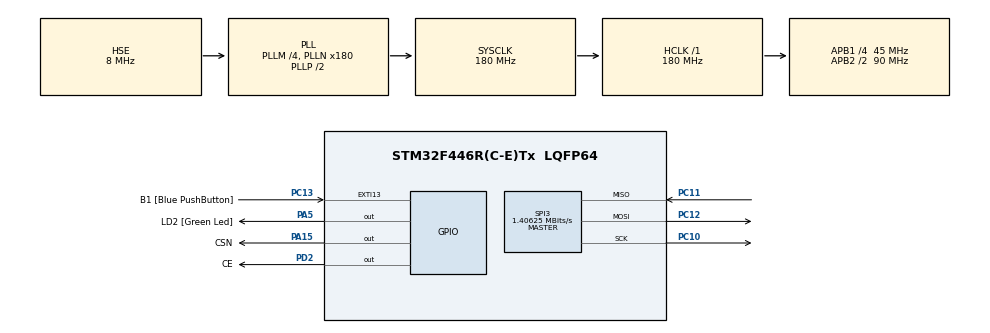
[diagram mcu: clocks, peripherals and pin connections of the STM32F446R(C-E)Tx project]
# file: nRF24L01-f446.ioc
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Mcu.Family=STM32F4
Mcu.Name=STM32F446R(C-E)Tx
Mcu.Package=LQFP64
NVIC.PriorityGroup=NVIC_PRIORITYGROUP_0
PA13.GPIO_Label=TMS
PA13.Mode=Serial_Wire
PA13.Signal=SYS_JTMS-SWDIO
PA14.GPIO_Label=TCK
PA14.Mode=Serial_Wire
PA14.Signal=SYS_JTCK-SWCLK
PA15.GPIO_Label=CSN
PA15.Signal=GPIO_Output
PA3.GPIO_Label=USART_RX
PA3.Signal=USART2_RX
PA5.GPIO_Label=LD2 [Green Led]
PA5.Signal=GPIO_Output
PB3.GPIO_Label=SWO
PB3.Signal=SYS_JTDO-SWO
PC10.Mode=Full_Duplex_Master
PC10.Signal=SPI3_SCK
PC11.Mode=Full_Duplex_Master
PC11.Signal=SPI3_MISO
PC12.Mode=Full_Duplex_Master
PC12.Signal=SPI3_MOSI
PC13.GPIO_Label=B1 [Blue PushButton]
PC13.GPIO_ModeDefaultEXTI=GPIO_MODE_IT_FALLING
PC13.Signal=GPXTI13
PC15-OSC32_OUT.Signal=RCC_OSC32_OUT
PD2.GPIO_Label=CE
PD2.Signal=GPIO_Output
PH0-OSC_IN.Mode=HSE-External-Clock-Source
PH0-OSC_IN.Signal=RCC_OSC_IN
PH1-OSC_OUT.Mode=HSE-External-Clock-Source
PH1-OSC_OUT.Signal=RCC_OSC_OUT
ProjectManager.HeapSize=0x200
ProjectManager.StackSize=0x400
ProjectManager.TargetToolchain=SW4STM32
RCC.48MHZClocksFreq_Value=84000000
RCC.AHBFreq_Value=180000000
RCC.APB1CLKDivider=RCC_HCLK_DIV4
RCC.APB1Freq_Value=45000000
RCC.APB1TimFreq_Value=90000000
RCC.APB2CLKDivider=RCC_HCLK_DIV2
RCC.APB2Freq_Value=90000000
RCC.APB2TimFreq_Value=180000000
RCC.CortexFreq_Value=180000000
RCC.FLatency-AdvancedSettings=FLASH_LATENCY_5
RCC.HCLKFreq_Value=180000000
RCC.HSE_VALUE=8000000
RCC.HSI_VALUE=16000000
RCC.PLLM=4
RCC.PLLN=180
RCC.PLLSourceVirtual=RCC_PLLSOURCE_HSE
RCC.SYSCLKFreq_VALUE=180000000
RCC.SYSCLKSource=RCC_SYSCLKSOURCE_PLLCLK
RCC.USBFreq_Value=180000000
RCC.VCOOutputFreq_Value=360000000
SPI3.BaudRatePrescaler=SPI_BAUDRATEPRESCALER_32
SPI3.CalculateBaudRate=1.40625 MBits/s
SPI3.Direction=SPI_DIRECTION_2LINES
SPI3.Mode=SPI_MODE_MASTER
SPI3.VirtualType=VM_MASTER
board=NUCLEO-F446RE

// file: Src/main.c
/* USER CODE BEGIN Header */
/**
  ******************************************************************************
  * @file           : main.c
  * @brief          : Main program body
  ******************************************************************************
  * @attention
  *
  * <h2><center>&copy; Copyright (c) 2019 STMicroelectronics.
  * All rights reserved.</center></h2>
  *
  * This software component is licensed by ST under BSD 3-Clause license,
  * the "License"; You may not use this file except in compliance with the
  * License. You may obtain a copy of the License at:
  *                        opensource.org/licenses/BSD-3-Clause
  *
  ******************************************************************************
  */
/* USER CODE END Header */

#include "main.h"
#include "spi.h"
#include "gpio.h"

/* USER CODE BEGIN Includes */

	#include <string.h>
	#include <stdio.h>
	#include "lcd.h"
	#include "NRF24L01_sm.h"

/* USER CODE END Includes */

void SystemClock_Config(void);

/* USER CODE BEGIN 0 */

	#define MASTER
	#define MY_CHANNEL 106
	uint8_t MyAddress[] = { 0x65, 0x65, 0x65, 0x65, 0x65 };		/* My address */
	uint8_t TxAddress[] = { 0x56, 0x56, 0x56, 0x56, 0x56 };		/* Other end address */
	uint8_t dataOut[32], dataIn[32];							/* Data received and data for send */
	NRF24L01_Transmit_Status_t transmissionStatus;				/* NRF transmission status */

/* USER CODE END 0 */

int main(void)
{

  /* MCU Configuration--------------------------------------------------------*/

  /* Reset of all peripherals, Initializes the Flash interface and the Systick. */
  HAL_Init();

  /* Configure the system clock */
  SystemClock_Config();

  /* Initialize all configured peripherals */
  MX_GPIO_Init();
  MX_SPI3_Init();
  /* USER CODE BEGIN 2 */

	LCD_Init();
	LCD_FillScreen(ILI92_WHITE);
	LCD_SetTextColor(ILI92_MAGENTA, ILI92_WHITE);
	LCD_SetRotation(1);
	LCD_Printf("START ");

	NRF24L01_Init(&hspi3, MY_CHANNEL, 32);			/* Set 250kBps data rate and -6dBm output power */
	NRF24L01_SetRF(NRF24L01_DataRate_250k, NRF24L01_OutputPower_M6dBm);
	NRF24L01_SetMyAddress(MyAddress);	/* Set my address, 5 bytes */
	NRF24L01_SetTxAddress(TxAddress);	/* Set TX address, 5 bytes */

#ifdef MASTER
	uint32_t sendTime = HAL_GetTick();
	uint8_t errors = 0;
#endif
	uint32_t lastTime = HAL_GetTick();
	int16_t i = 0;

  /* USER CODE END 2 */

  /* Infinite loop */
  /* USER CODE BEGIN WHILE */
  while (1)
  {
#ifdef MASTER
		/* Every 2 seconds */
		if (HAL_GetTick() - lastTime > 2000) {
			LCD_SetCursor(0, 0);
			LCD_FillScreen(ILI92_WHITE);

			sprintf((char *) dataOut, "nRf24L01 packet #%d", i++);	/* Fill data with something */
			LCD_Printf("\nTX: ");
			LCD_Printf("%s\n", dataOut);

			NRF24L01_Transmit(dataOut);	/* Transmit data, goes automatically to TX mode */
			/* Wait for data to be sent */
			do {
				transmissionStatus = NRF24L01_GetTransmissionStatus();					/* Get transmission status */
			} while (transmissionStatus == NRF24L01_Transmit_Status_Sending);
			sendTime = HAL_GetTick();

			NRF24L01_PowerUpRx();				/* Go back to RX mode */
			/* Wait received data, wait max 100ms, if time is larger, then data were probably lost */
			while (!NRF24L01_DataReady() && (HAL_GetTick() - sendTime) < 100);

			LCD_Printf("RX: ");
			NRF24L01_GetData(dataIn);	/* Get data from NRF2L01+ */
			LCD_Printf("%s\n", dataIn);
			LCD_Printf("  ping: %d ms\n", HAL_GetTick() - sendTime);	/* Show ping time */

			LCD_Printf("Status: ");
			if (transmissionStatus == NRF24L01_Transmit_Status_Ok) {		/* Check transmit status */
				LCD_Printf("OK\n");			/* Transmit went OK */
			} else if (transmissionStatus == NRF24L01_Transmit_Status_Lost) {
				LCD_Printf("LOST\n");		/* Message was LOST */
			} else {
				LCD_Printf("SENDING\n");	/* This should never happen */
			}

			errors = 0;
			for (int k = 0; k < sizeof(dataIn) / sizeof(dataIn[0]); k++) {
				errors += (dataIn[k]!=dataOut[k]);
			}
			LCD_Printf("Errors: %d\n", errors);
			LCD_Printf("\n");
			lastTime = HAL_GetTick();
		}
#else
		/* If data is ready on NRF24L01+ */
		if (NRF24L01_DataReady()) {
			/* Get data from NRF24L01+ */
			NRF24L01_GetData(dataIn);
			HAL_Delay(1);
			/* Send it back, automatically goes to TX mode */
			NRF24L01_Transmit(dataIn);

			/* Wait for data to be sent */
			do {
				/* Wait till sending */
				transmissionStatus = NRF24L01_GetTransmissionStatus();
			} while (transmissionStatus == NRF24L01_Transmit_Status_Sending);
			/* Send done */

			/* Check data & transmit status */
			LCD_Printf("\n");
			LCD_Printf("Data received:\n");
			LCD_Printf("%s\n", dataIn);
			LCD_Printf("Sending it back\n");
			LCD_Printf("Status: ");
			if (transmissionStatus == NRF24L01_Transmit_Status_Ok) {
				/* Transmit went OK */
				LCD_Printf("OK\n");
			} else {
				/* Message was LOST */
				LCD_Printf("ERROR\n");
			}

			/* Go back to RX mode */
			NRF24L01_PowerUpRx();
			i = 0;
		} else {
			if (HAL_GetTick() - lastTime > 250) {
			    if (i == 0) {
			        LCD_Printf("Waiting for data");
			        i++;
			    } else if (i > 17) {
			        LCD_Printf("\r");
			        i = 0;
			    } else {
			        LCD_Printf(".");
			        i++;
			    }
			    lastTime = HAL_GetTick();
			}
		}
#endif
    /* USER CODE END WHILE */

  }
}

void SystemClock_Config(void)
{
  RCC_OscInitTypeDef RCC_OscInitStruct = {0};
  RCC_ClkInitTypeDef RCC_ClkInitStruct = {0};

  /** Configure the main internal regulator output voltage
  */
  __HAL_RCC_PWR_CLK_ENABLE();
  __HAL_PWR_VOLTAGESCALING_CONFIG(PWR_REGULATOR_VOLTAGE_SCALE1);
  /** Initializes the CPU, AHB and APB busses clocks
  */
  RCC_OscInitStruct.OscillatorType = RCC_OSCILLATORTYPE_HSE;
  RCC_OscInitStruct.HSEState = RCC_HSE_BYPASS;
  RCC_OscInitStruct.PLL.PLLState = RCC_PLL_ON;
  RCC_OscInitStruct.PLL.PLLSource = RCC_PLLSOURCE_HSE;
  RCC_OscInitStruct.PLL.PLLM = 4;
  RCC_OscInitStruct.PLL.PLLN = 180;
  RCC_OscInitStruct.PLL.PLLP = RCC_PLLP_DIV2;
  RCC_OscInitStruct.PLL.PLLQ = 2;
  RCC_OscInitStruct.PLL.PLLR = 2;
  if (HAL_RCC_OscConfig(&RCC_OscInitStruct) != HAL_OK)
  {
    Error_Handler();
  }
  /** Activate the Over-Drive mode
  */
  if (HAL_PWREx_EnableOverDrive() != HAL_OK)
  {
    Error_Handler();
  }
  /** Initializes the CPU, AHB and APB busses clocks
  */
  RCC_ClkInitStruct.ClockType = RCC_CLOCKTYPE_HCLK|RCC_CLOCKTYPE_SYSCLK
                              |RCC_CLOCKTYPE_PCLK1|RCC_CLOCKTYPE_PCLK2;
  RCC_ClkInitStruct.SYSCLKSource = RCC_SYSCLKSOURCE_PLLCLK;
  RCC_ClkInitStruct.AHBCLKDivider = RCC_SYSCLK_DIV1;
  RCC_ClkInitStruct.APB1CLKDivider = RCC_HCLK_DIV4;
  RCC_ClkInitStruct.APB2CLKDivider = RCC_HCLK_DIV2;

  if (HAL_RCC_ClockConfig(&RCC_ClkInitStruct, FLASH_LATENCY_5) != HAL_OK)
  {
    Error_Handler();
  }
}

void Error_Handler(void)
{
}

/************************ (C) COPYRIGHT STMicroelectronics *****END OF FILE****/
